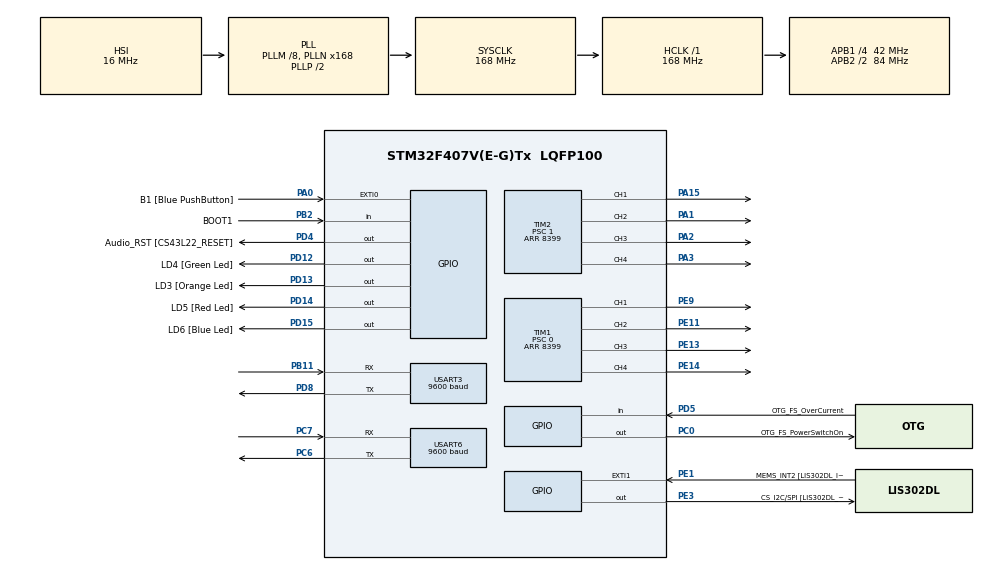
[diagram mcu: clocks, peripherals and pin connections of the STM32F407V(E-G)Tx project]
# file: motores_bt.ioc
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Mcu.Family=STM32F4
Mcu.Name=STM32F407V(E-G)Tx
Mcu.Package=LQFP100
NVIC.PriorityGroup=NVIC_PRIORITYGROUP_0
PA0-WKUP.GPIO_Label=B1 [Blue PushButton]
PA0-WKUP.Signal=GPXTI0
PA1.Signal=S_TIM2_CH2
PA10.GPIO_Label=OTG_FS_ID
PA10.GPIO_Mode=GPIO_MODE_AF_PP
PA10.GPIO_PuPd=GPIO_NOPULL
PA10.GPIO_Speed=GPIO_SPEED_FREQ_LOW
PA10.Signal=USB_OTG_FS_ID
PA11.GPIO_Label=OTG_FS_DM
PA11.GPIO_Mode=GPIO_MODE_AF_PP
PA11.GPIO_PuPd=GPIO_NOPULL
PA11.GPIO_Speed=GPIO_SPEED_FREQ_LOW
PA11.Signal=USB_OTG_FS_DM
PA12.GPIO_Label=OTG_FS_DP
PA12.GPIO_Mode=GPIO_MODE_AF_PP
PA12.GPIO_PuPd=GPIO_NOPULL
PA12.GPIO_Speed=GPIO_SPEED_FREQ_LOW
PA12.Signal=USB_OTG_FS_DP
PA13.GPIO_Label=SWDIO
PA13.Signal=SYS_JTMS-SWDIO
PA14.GPIO_Label=SWCLK
PA14.Signal=SYS_JTCK-SWCLK
PA15.Signal=S_TIM2_CH1_ETR
PA2.Signal=S_TIM2_CH3
PA3.Signal=S_TIM2_CH4
PA4.GPIO_Label=I2S3_WS [CS43L22_LRCK]
PA4.GPIO_Mode=GPIO_MODE_AF_PP
PA4.GPIO_PuPd=GPIO_NOPULL
PA4.GPIO_Speed=GPIO_SPEED_FREQ_LOW
PA4.Signal=I2S3_WS
PA5.GPIO_Label=SPI1_SCK [LIS302DL_SCL/SPC]
PA5.GPIO_Mode=GPIO_MODE_AF_PP
PA5.GPIO_PuPd=GPIO_NOPULL
PA5.GPIO_Speed=GPIO_SPEED_FREQ_LOW
PA5.Signal=SPI1_SCK
PA6.GPIO_Label=SPI1_MISO [LIS302DL_SDO]
PA6.GPIO_Mode=GPIO_MODE_AF_PP
PA6.GPIO_PuPd=GPIO_NOPULL
PA6.GPIO_Speed=GPIO_SPEED_FREQ_LOW
PA6.Signal=SPI1_MISO
PA7.GPIO_Label=SPI1_MOSI [LIS302DL_SDA/SDI/SDO]
PA7.GPIO_Mode=GPIO_MODE_AF_PP
PA7.GPIO_PuPd=GPIO_NOPULL
PA7.GPIO_Speed=GPIO_SPEED_FREQ_LOW
PA7.Signal=SPI1_MOSI
PA9.GPIO_Label=VBUS_FS
PA9.GPIO_Mode=GPIO_MODE_INPUT
PA9.GPIO_PuPd=GPIO_NOPULL
PA9.Signal=USB_OTG_FS_VBUS
PB10.GPIO_Label=CLK_IN [MP45DT02_CLK]
PB10.GPIO_Mode=GPIO_MODE_AF_PP
PB10.GPIO_PuPd=GPIO_NOPULL
PB10.GPIO_Speed=GPIO_SPEED_FREQ_LOW
PB10.Signal=I2S2_CK
PB11.Mode=Asynchronous
PB11.Signal=USART3_RX
PB2.GPIO_Label=BOOT1
PB2.GPIO_Mode=GPIO_MODE_INPUT
PB2.GPIO_PuPd=GPIO_NOPULL
PB2.Signal=GPIO_Input
PB3.GPIO_Label=SWO
PB3.Signal=SYS_JTDO-SWO
PB6.GPIO_Label=Audio_SCL [CS43L22_SCL]
PB6.GPIO_Mode=GPIO_MODE_AF_OD
PB6.GPIO_PuPd=GPIO_NOPULL
PB6.GPIO_Speed=GPIO_SPEED_FREQ_LOW
PB6.Signal=I2C1_SCL
PB9.GPIO_Label=Audio_SDA [CS43L22_SDA]
PB9.GPIO_Mode=GPIO_MODE_AF_OD
PB9.GPIO_PuPd=GPIO_NOPULL
PB9.GPIO_Speed=GPIO_SPEED_FREQ_LOW
PB9.Signal=I2C1_SDA
PC0.GPIO_Label=OTG_FS_PowerSwitchOn
PC0.GPIO_PuPd=GPIO_NOPULL
PC0.GPIO_Speed=GPIO_SPEED_FREQ_LOW
PC0.PinState=GPIO_PIN_SET
PC0.Signal=GPIO_Output
PC10.GPIO_Label=I2S3_SCK [CS43L22_SCLK]
PC10.GPIO_Mode=GPIO_MODE_AF_PP
PC10.GPIO_PuPd=GPIO_NOPULL
PC10.GPIO_Speed=GPIO_SPEED_FREQ_LOW
PC10.Signal=I2S3_CK
PC12.GPIO_Label=I2S3_SD [CS43L22_SDIN]
PC12.GPIO_Mode=GPIO_MODE_AF_PP
PC12.GPIO_PuPd=GPIO_NOPULL
PC12.GPIO_Speed=GPIO_SPEED_FREQ_LOW
PC12.Signal=I2S3_SD
PC14-OSC32_IN.GPIO_Label=PC14-OSC32_IN
PC14-OSC32_IN.Mode=LSE-External-Oscillator
PC14-OSC32_IN.Signal=RCC_OSC32_IN
PC15-OSC32_OUT.GPIO_Label=PC15-OSC32_OUT
PC15-OSC32_OUT.Mode=LSE-External-Oscillator
PC15-OSC32_OUT.Signal=RCC_OSC32_OUT
PC3.GPIO_Label=PDM_OUT [MP45DT02_DOUT]
PC3.GPIO_Mode=GPIO_MODE_AF_PP
PC3.GPIO_PuPd=GPIO_NOPULL
PC3.GPIO_Speed=GPIO_SPEED_FREQ_LOW
PC3.Signal=I2S2_SD
PC6.Mode=Asynchronous
PC6.Signal=USART6_TX
PC7.Mode=Asynchronous
PC7.Signal=USART6_RX
PD12.GPIO_Label=LD4 [Green Led]
PD12.GPIO_PuPd=GPIO_NOPULL
PD12.GPIO_Speed=GPIO_SPEED_FREQ_LOW
PD12.Signal=GPIO_Output
PD13.GPIO_Label=LD3 [Orange Led]
PD13.GPIO_PuPd=GPIO_NOPULL
PD13.GPIO_Speed=GPIO_SPEED_FREQ_LOW
PD13.Signal=GPIO_Output
PD14.GPIO_Label=LD5 [Red Led]
PD14.GPIO_PuPd=GPIO_NOPULL
PD14.GPIO_Speed=GPIO_SPEED_FREQ_LOW
PD14.Signal=GPIO_Output
PD15.GPIO_Label=LD6 [Blue Led]
PD15.GPIO_PuPd=GPIO_NOPULL
PD15.GPIO_Speed=GPIO_SPEED_FREQ_LOW
PD15.Signal=GPIO_Output
PD4.GPIO_Label=Audio_RST [CS43L22_RESET]
PD4.GPIO_PuPd=GPIO_NOPULL
PD4.GPIO_Speed=GPIO_SPEED_FREQ_LOW
PD4.Signal=GPIO_Output
PD5.GPIO_Label=OTG_FS_OverCurrent
PD5.GPIO_Mode=GPIO_MODE_INPUT
PD5.GPIO_PuPd=GPIO_NOPULL
PD5.Signal=GPIO_Input
PD8.Mode=Asynchronous
PD8.Signal=USART3_TX
PE1.GPIO_Label=MEMS_INT2 [LIS302DL_INT2]
PE1.GPIO_ModeDefaultEXTI=GPIO_MODE_EVT_RISING
PE1.GPIO_PuPd=GPIO_NOPULL
PE1.Signal=GPXTI1
PE11.Signal=S_TIM1_CH2
PE13.Signal=S_TIM1_CH3
PE14.Signal=S_TIM1_CH4
PE3.GPIO_Label=CS_I2C/SPI [LIS302DL_CS_I2C/SPI]
PE3.GPIO_PuPd=GPIO_NOPULL
PE3.GPIO_Speed=GPIO_SPEED_FREQ_LOW
PE3.Signal=GPIO_Output
PE9.Signal=S_TIM1_CH1
PH0-OSC_IN.GPIO_Label=PH0-OSC_IN
PH0-OSC_IN.Mode=HSE-External-Oscillator
PH0-OSC_IN.Signal=RCC_OSC_IN
PH1-OSC_OUT.GPIO_Label=PH1-OSC_OUT
PH1-OSC_OUT.Mode=HSE-External-Oscillator
PH1-OSC_OUT.Signal=RCC_OSC_OUT
ProjectManager.HeapSize=0x200
ProjectManager.StackSize=0x400
ProjectManager.TargetToolchain=STM32CubeIDE
RCC.48MHZClocksFreq_Value=48000000
RCC.AHBFreq_Value=168000000
RCC.APB1CLKDivider=RCC_HCLK_DIV4
RCC.APB1Freq_Value=42000000
RCC.APB1TimFreq_Value=84000000
RCC.APB2CLKDivider=RCC_HCLK_DIV2
RCC.APB2Freq_Value=84000000
RCC.APB2TimFreq_Value=168000000
RCC.CortexFreq_Value=168000000
RCC.HCLKFreq_Value=168000000
RCC.HSE_VALUE=8000000
RCC.HSI_VALUE=16000000
RCC.PLLM=8
RCC.PLLN=168
RCC.PLLQ=7
RCC.SYSCLKFreq_VALUE=168000000
RCC.SYSCLKSource=RCC_SYSCLKSOURCE_PLLCLK
RCC.VCOOutputFreq_Value=336000000
SH.S_TIM1_CH1.0=TIM1_CH1,PWM Generation1 CH1
SH.S_TIM1_CH2.0=TIM1_CH2,PWM Generation2 CH2
SH.S_TIM1_CH3.0=TIM1_CH3,PWM Generation3 CH3
SH.S_TIM1_CH4.0=TIM1_CH4,PWM Generation4 CH4
SH.S_TIM2_CH1_ETR.0=TIM2_CH1,PWM Generation1 CH1
SH.S_TIM2_CH2.0=TIM2_CH2,PWM Generation2 CH2
SH.S_TIM2_CH3.0=TIM2_CH3,PWM Generation3 CH3
SH.S_TIM2_CH4.0=TIM2_CH4,PWM Generation4 CH4
TIM1.AutoReloadPreload=TIM_AUTORELOAD_PRELOAD_ENABLE
TIM1.Channel-PWM\ Generation1\ CH1=TIM_CHANNEL_1
TIM1.Channel-PWM\ Generation2\ CH2=TIM_CHANNEL_2
TIM1.Channel-PWM\ Generation3\ CH3=TIM_CHANNEL_3
TIM1.Channel-PWM\ Generation4\ CH4=TIM_CHANNEL_4
TIM1.Period=8399
TIM1.Prescaler=0
TIM2.AutoReloadPreload=TIM_AUTORELOAD_PRELOAD_ENABLE
TIM2.Channel-PWM\ Generation1\ CH1=TIM_CHANNEL_1
TIM2.Channel-PWM\ Generation2\ CH2=TIM_CHANNEL_2
TIM2.Channel-PWM\ Generation3\ CH3=TIM_CHANNEL_3
TIM2.Channel-PWM\ Generation4\ CH4=TIM_CHANNEL_4
TIM2.Period=8399
TIM2.Prescaler=1
USART3.BaudRate=9600
USART3.VirtualMode=VM_ASYNC
USART6.BaudRate=9600
USART6.VirtualMode=VM_ASYNC
VP_TIM1_VS_ClockSourceINT.Mode=Internal
VP_TIM2_VS_ClockSourceINT.Mode=Internal
board=STM32F407G-DISC1

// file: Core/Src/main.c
/* USER CODE BEGIN Header */
/**
  ******************************************************************************
  * @file           : main.c
  * @brief          : Main program body
  ******************************************************************************
  * @attention
  *
  * Copyright (c) 2024 STMicroelectronics.
  * All rights reserved.
  *
  * This software is licensed under terms that can be found in the LICENSE file
  * in the root directory of this software component.
  * If no LICENSE file comes with this software, it is provided AS-IS.
  *
  ******************************************************************************
  */
/* USER CODE END Header */
#include "main.h"

/* USER CODE BEGIN Includes */
#include <string.h>
void movimiento(char str, int speed);
/* USER CODE END Includes */

TIM_HandleTypeDef htim1;
TIM_HandleTypeDef htim2;

UART_HandleTypeDef huart3;
UART_HandleTypeDef huart6;

void SystemClock_Config(void);
static void MX_GPIO_Init(void);
static void MX_TIM1_Init(void);
static void MX_TIM2_Init(void);
static void MX_USART6_UART_Init(void);
static void MX_USART3_UART_Init(void);

int main(void)
{

  /* MCU Configuration--------------------------------------------------------*/

  /* Reset of all peripherals, Initializes the Flash interface and the Systick. */
  HAL_Init();

  /* Configure the system clock */
  SystemClock_Config();

  /* Initialize all configured peripherals */
  MX_GPIO_Init();
  MX_TIM1_Init();
  MX_TIM2_Init();
  MX_USART6_UART_Init();
  MX_USART3_UART_Init();
  /* USER CODE BEGIN 2 */
  HAL_TIM_PWM_Start_IT(&htim1, TIM_CHANNEL_1);
  __HAL_TIM_SetCompare(&htim1, TIM_CHANNEL_1, 0);

  HAL_TIM_PWM_Start_IT(&htim1, TIM_CHANNEL_2);
  __HAL_TIM_SetCompare(&htim1, TIM_CHANNEL_2, 0);

  HAL_TIM_PWM_Start_IT(&htim1, TIM_CHANNEL_3);
  __HAL_TIM_SetCompare(&htim1, TIM_CHANNEL_3, 0);

  HAL_TIM_PWM_Start_IT(&htim1, TIM_CHANNEL_4);
  __HAL_TIM_SetCompare(&htim1, TIM_CHANNEL_4, 0);

  HAL_TIM_PWM_Start_IT(&htim2, TIM_CHANNEL_1);
  __HAL_TIM_SetCompare(&htim2, TIM_CHANNEL_1, 0);

  HAL_TIM_PWM_Start_IT(&htim2, TIM_CHANNEL_2);
  __HAL_TIM_SetCompare(&htim2, TIM_CHANNEL_2, 0);

  HAL_TIM_PWM_Start_IT(&htim2, TIM_CHANNEL_3);
  __HAL_TIM_SetCompare(&htim2, TIM_CHANNEL_3, 0);

  HAL_TIM_PWM_Start_IT(&htim2, TIM_CHANNEL_4);
  __HAL_TIM_SetCompare(&htim2, TIM_CHANNEL_4, 0);
  movimiento('b', 0);
  /* USER CODE END 2 */

  /* Infinite loop */
  /* USER CODE BEGIN WHILE */
  while (1)
  {
	  char rxData;
	  if (HAL_UART_Receive(&huart6, &rxData, 1, HAL_MAX_DELAY) == HAL_OK)
	             {
		  	  	  	HAL_UART_Transmit(&huart3, &rxData, 1, 50);
	                movimiento(rxData, 2520);
	             }
    /* USER CODE END WHILE */

  }
}

void SystemClock_Config(void)
{
  RCC_OscInitTypeDef RCC_OscInitStruct = {0};
  RCC_ClkInitTypeDef RCC_ClkInitStruct = {0};

  /** Configure the main internal regulator output voltage
  */
  __HAL_RCC_PWR_CLK_ENABLE();
  __HAL_PWR_VOLTAGESCALING_CONFIG(PWR_REGULATOR_VOLTAGE_SCALE1);

  /** Initializes the RCC Oscillators according to the specified parameters
  * in the RCC_OscInitTypeDef structure.
  */
  RCC_OscInitStruct.OscillatorType = RCC_OSCILLATORTYPE_HSI;
  RCC_OscInitStruct.HSIState = RCC_HSI_ON;
  RCC_OscInitStruct.HSICalibrationValue = RCC_HSICALIBRATION_DEFAULT;
  RCC_OscInitStruct.PLL.PLLState = RCC_PLL_ON;
  RCC_OscInitStruct.PLL.PLLSource = RCC_PLLSOURCE_HSI;
  RCC_OscInitStruct.PLL.PLLM = 8;
  RCC_OscInitStruct.PLL.PLLN = 168;
  RCC_OscInitStruct.PLL.PLLP = RCC_PLLP_DIV2;
  RCC_OscInitStruct.PLL.PLLQ = 7;
  if (HAL_RCC_OscConfig(&RCC_OscInitStruct) != HAL_OK)
  {
    Error_Handler();
  }

  /** Initializes the CPU, AHB and APB buses clocks
  */
  RCC_ClkInitStruct.ClockType = RCC_CLOCKTYPE_HCLK|RCC_CLOCKTYPE_SYSCLK
                              |RCC_CLOCKTYPE_PCLK1|RCC_CLOCKTYPE_PCLK2;
  RCC_ClkInitStruct.SYSCLKSource = RCC_SYSCLKSOURCE_PLLCLK;
  RCC_ClkInitStruct.AHBCLKDivider = RCC_SYSCLK_DIV1;
  RCC_ClkInitStruct.APB1CLKDivider = RCC_HCLK_DIV4;
  RCC_ClkInitStruct.APB2CLKDivider = RCC_HCLK_DIV2;

  if (HAL_RCC_ClockConfig(&RCC_ClkInitStruct, FLASH_LATENCY_5) != HAL_OK)
  {
    Error_Handler();
  }
}

static void MX_TIM1_Init(void)
{

  TIM_ClockConfigTypeDef sClockSourceConfig = {0};
  TIM_MasterConfigTypeDef sMasterConfig = {0};
  TIM_OC_InitTypeDef sConfigOC = {0};
  TIM_BreakDeadTimeConfigTypeDef sBreakDeadTimeConfig = {0};

  htim1.Instance = TIM1;
  htim1.Init.Prescaler = 0;
  htim1.Init.CounterMode = TIM_COUNTERMODE_UP;
  htim1.Init.Period = 8399;
  htim1.Init.ClockDivision = TIM_CLOCKDIVISION_DIV1;
  htim1.Init.RepetitionCounter = 0;
  htim1.Init.AutoReloadPreload = TIM_AUTORELOAD_PRELOAD_ENABLE;
  if (HAL_TIM_Base_Init(&htim1) != HAL_OK)
  {
    Error_Handler();
  }
  sClockSourceConfig.ClockSource = TIM_CLOCKSOURCE_INTERNAL;
  if (HAL_TIM_ConfigClockSource(&htim1, &sClockSourceConfig) != HAL_OK)
  {
    Error_Handler();
  }
  if (HAL_TIM_PWM_Init(&htim1) != HAL_OK)
  {
    Error_Handler();
  }
  sMasterConfig.MasterOutputTrigger = TIM_TRGO_RESET;
  sMasterConfig.MasterSlaveMode = TIM_MASTERSLAVEMODE_DISABLE;
  if (HAL_TIMEx_MasterConfigSynchronization(&htim1, &sMasterConfig) != HAL_OK)
  {
    Error_Handler();
  }
  sConfigOC.OCMode = TIM_OCMODE_PWM1;
  sConfigOC.Pulse = 0;
  sConfigOC.OCPolarity = TIM_OCPOLARITY_HIGH;
  sConfigOC.OCNPolarity = TIM_OCNPOLARITY_HIGH;
  sConfigOC.OCFastMode = TIM_OCFAST_DISABLE;
  sConfigOC.OCIdleState = TIM_OCIDLESTATE_RESET;
  sConfigOC.OCNIdleState = TIM_OCNIDLESTATE_RESET;
  if (HAL_TIM_PWM_ConfigChannel(&htim1, &sConfigOC, TIM_CHANNEL_1) != HAL_OK)
  {
    Error_Handler();
  }
  if (HAL_TIM_PWM_ConfigChannel(&htim1, &sConfigOC, TIM_CHANNEL_2) != HAL_OK)
  {
    Error_Handler();
  }
  if (HAL_TIM_PWM_ConfigChannel(&htim1, &sConfigOC, TIM_CHANNEL_3) != HAL_OK)
  {
    Error_Handler();
  }
  if (HAL_TIM_PWM_ConfigChannel(&htim1, &sConfigOC, TIM_CHANNEL_4) != HAL_OK)
  {
    Error_Handler();
  }
  sBreakDeadTimeConfig.OffStateRunMode = TIM_OSSR_DISABLE;
  sBreakDeadTimeConfig.OffStateIDLEMode = TIM_OSSI_DISABLE;
  sBreakDeadTimeConfig.LockLevel = TIM_LOCKLEVEL_OFF;
  sBreakDeadTimeConfig.DeadTime = 0;
  sBreakDeadTimeConfig.BreakState = TIM_BREAK_DISABLE;
  sBreakDeadTimeConfig.BreakPolarity = TIM_BREAKPOLARITY_HIGH;
  sBreakDeadTimeConfig.AutomaticOutput = TIM_AUTOMATICOUTPUT_DISABLE;
  if (HAL_TIMEx_ConfigBreakDeadTime(&htim1, &sBreakDeadTimeConfig) != HAL_OK)
  {
    Error_Handler();
  }
  HAL_TIM_MspPostInit(&htim1);

}

static void MX_TIM2_Init(void)
{

  TIM_ClockConfigTypeDef sClockSourceConfig = {0};
  TIM_MasterConfigTypeDef sMasterConfig = {0};
  TIM_OC_InitTypeDef sConfigOC = {0};

  htim2.Instance = TIM2;
  htim2.Init.Prescaler = 1;
  htim2.Init.CounterMode = TIM_COUNTERMODE_UP;
  htim2.Init.Period = 8399;
  htim2.Init.ClockDivision = TIM_CLOCKDIVISION_DIV1;
  htim2.Init.AutoReloadPreload = TIM_AUTORELOAD_PRELOAD_ENABLE;
  if (HAL_TIM_Base_Init(&htim2) != HAL_OK)
  {
    Error_Handler();
  }
  sClockSourceConfig.ClockSource = TIM_CLOCKSOURCE_INTERNAL;
  if (HAL_TIM_ConfigClockSource(&htim2, &sClockSourceConfig) != HAL_OK)
  {
    Error_Handler();
  }
  if (HAL_TIM_PWM_Init(&htim2) != HAL_OK)
  {
    Error_Handler();
  }
  sMasterConfig.MasterOutputTrigger = TIM_TRGO_RESET;
  sMasterConfig.MasterSlaveMode = TIM_MASTERSLAVEMODE_DISABLE;
  if (HAL_TIMEx_MasterConfigSynchronization(&htim2, &sMasterConfig) != HAL_OK)
  {
    Error_Handler();
  }
  sConfigOC.OCMode = TIM_OCMODE_PWM1;
  sConfigOC.Pulse = 0;
  sConfigOC.OCPolarity = TIM_OCPOLARITY_HIGH;
  sConfigOC.OCFastMode = TIM_OCFAST_DISABLE;
  if (HAL_TIM_PWM_ConfigChannel(&htim2, &sConfigOC, TIM_CHANNEL_1) != HAL_OK)
  {
    Error_Handler();
  }
  if (HAL_TIM_PWM_ConfigChannel(&htim2, &sConfigOC, TIM_CHANNEL_2) != HAL_OK)
  {
    Error_Handler();
  }
  if (HAL_TIM_PWM_ConfigChannel(&htim2, &sConfigOC, TIM_CHANNEL_3) != HAL_OK)
  {
    Error_Handler();
  }
  if (HAL_TIM_PWM_ConfigChannel(&htim2, &sConfigOC, TIM_CHANNEL_4) != HAL_OK)
  {
    Error_Handler();
  }
  HAL_TIM_MspPostInit(&htim2);

}

static void MX_USART3_UART_Init(void)
{

  huart3.Instance = USART3;
  huart3.Init.BaudRate = 9600;
  huart3.Init.WordLength = UART_WORDLENGTH_8B;
  huart3.Init.StopBits = UART_STOPBITS_1;
  huart3.Init.Parity = UART_PARITY_NONE;
  huart3.Init.Mode = UART_MODE_TX_RX;
  huart3.Init.HwFlowCtl = UART_HWCONTROL_NONE;
  huart3.Init.OverSampling = UART_OVERSAMPLING_16;
  if (HAL_UART_Init(&huart3) != HAL_OK)
  {
    Error_Handler();
  }

}

static void MX_USART6_UART_Init(void)
{

  huart6.Instance = USART6;
  huart6.Init.BaudRate = 9600;
  huart6.Init.WordLength = UART_WORDLENGTH_8B;
  huart6.Init.StopBits = UART_STOPBITS_1;
  huart6.Init.Parity = UART_PARITY_NONE;
  huart6.Init.Mode = UART_MODE_TX_RX;
  huart6.Init.HwFlowCtl = UART_HWCONTROL_NONE;
  huart6.Init.OverSampling = UART_OVERSAMPLING_16;
  if (HAL_UART_Init(&huart6) != HAL_OK)
  {
    Error_Handler();
  }

}

static void MX_GPIO_Init(void)
{
  GPIO_InitTypeDef GPIO_InitStruct = {0};

  /* GPIO Ports Clock Enable */
  __HAL_RCC_GPIOE_CLK_ENABLE();
  __HAL_RCC_GPIOC_CLK_ENABLE();
  __HAL_RCC_GPIOH_CLK_ENABLE();
  __HAL_RCC_GPIOA_CLK_ENABLE();
  __HAL_RCC_GPIOB_CLK_ENABLE();
  __HAL_RCC_GPIOD_CLK_ENABLE();

  /*Configure GPIO pin Output Level */
  HAL_GPIO_WritePin(CS_I2C_SPI_GPIO_Port, CS_I2C_SPI_Pin, GPIO_PIN_RESET);

  /*Configure GPIO pin Output Level */
  HAL_GPIO_WritePin(OTG_FS_PowerSwitchOn_GPIO_Port, OTG_FS_PowerSwitchOn_Pin, GPIO_PIN_SET);

  /*Configure GPIO pin Output Level */
  HAL_GPIO_WritePin(GPIOD, LD4_Pin|LD3_Pin|LD5_Pin|LD6_Pin
                          |Audio_RST_Pin, GPIO_PIN_RESET);

  /*Configure GPIO pin : CS_I2C_SPI_Pin */
  GPIO_InitStruct.Pin = CS_I2C_SPI_Pin;
  GPIO_InitStruct.Mode = GPIO_MODE_OUTPUT_PP;
  GPIO_InitStruct.Pull = GPIO_NOPULL;
  GPIO_InitStruct.Speed = GPIO_SPEED_FREQ_LOW;
  HAL_GPIO_Init(CS_I2C_SPI_GPIO_Port, &GPIO_InitStruct);

  /*Configure GPIO pin : OTG_FS_PowerSwitchOn_Pin */
  GPIO_InitStruct.Pin = OTG_FS_PowerSwitchOn_Pin;
  GPIO_InitStruct.Mode = GPIO_MODE_OUTPUT_PP;
  GPIO_InitStruct.Pull = GPIO_NOPULL;
  GPIO_InitStruct.Speed = GPIO_SPEED_FREQ_LOW;
  HAL_GPIO_Init(OTG_FS_PowerSwitchOn_GPIO_Port, &GPIO_InitStruct);

  /*Configure GPIO pin : PDM_OUT_Pin */
  GPIO_InitStruct.Pin = PDM_OUT_Pin;
  GPIO_InitStruct.Mode = GPIO_MODE_AF_PP;
  GPIO_InitStruct.Pull = GPIO_NOPULL;
  GPIO_InitStruct.Speed = GPIO_SPEED_FREQ_LOW;
  GPIO_InitStruct.Alternate = GPIO_AF5_SPI2;
  HAL_GPIO_Init(PDM_OUT_GPIO_Port, &GPIO_InitStruct);

  /*Configure GPIO pin : B1_Pin */
  GPIO_InitStruct.Pin = B1_Pin;
  GPIO_InitStruct.Mode = GPIO_MODE_IT_RISING;
  GPIO_InitStruct.Pull = GPIO_NOPULL;
  HAL_GPIO_Init(B1_GPIO_Port, &GPIO_InitStruct);

  /*Configure GPIO pin : I2S3_WS_Pin */
  GPIO_InitStruct.Pin = I2S3_WS_Pin;
  GPIO_InitStruct.Mode = GPIO_MODE_AF_PP;
  GPIO_InitStruct.Pull = GPIO_NOPULL;
  GPIO_InitStruct.Speed = GPIO_SPEED_FREQ_LOW;
  GPIO_InitStruct.Alternate = GPIO_AF6_SPI3;
  HAL_GPIO_Init(I2S3_WS_GPIO_Port, &GPIO_InitStruct);

  /*Configure GPIO pins : SPI1_SCK_Pin SPI1_MISO_Pin SPI1_MOSI_Pin */
  GPIO_InitStruct.Pin = SPI1_SCK_Pin|SPI1_MISO_Pin|SPI1_MOSI_Pin;
  GPIO_InitStruct.Mode = GPIO_MODE_AF_PP;
  GPIO_InitStruct.Pull = GPIO_NOPULL;
  GPIO_InitStruct.Speed = GPIO_SPEED_FREQ_LOW;
  GPIO_InitStruct.Alternate = GPIO_AF5_SPI1;
  HAL_GPIO_Init(GPIOA, &GPIO_InitStruct);

  /*Configure GPIO pin : BOOT1_Pin */
  GPIO_InitStruct.Pin = BOOT1_Pin;
  GPIO_InitStruct.Mode = GPIO_MODE_INPUT;
  GPIO_InitStruct.Pull = GPIO_NOPULL;
  HAL_GPIO_Init(BOOT1_GPIO_Port, &GPIO_InitStruct);

  /*Configure GPIO pin : CLK_IN_Pin */
  GPIO_InitStruct.Pin = CLK_IN_Pin;
  GPIO_InitStruct.Mode = GPIO_MODE_AF_PP;
  GPIO_InitStruct.Pull = GPIO_NOPULL;
  GPIO_InitStruct.Speed = GPIO_SPEED_FREQ_LOW;
  GPIO_InitStruct.Alternate = GPIO_AF5_SPI2;
  HAL_GPIO_Init(CLK_IN_GPIO_Port, &GPIO_InitStruct);

  /*Configure GPIO pins : LD4_Pin LD3_Pin LD5_Pin LD6_Pin
                           Audio_RST_Pin */
  GPIO_InitStruct.Pin = LD4_Pin|LD3_Pin|LD5_Pin|LD6_Pin
                          |Audio_RST_Pin;
  GPIO_InitStruct.Mode = GPIO_MODE_OUTPUT_PP;
  GPIO_InitStruct.Pull = GPIO_NOPULL;
  GPIO_InitStruct.Speed = GPIO_SPEED_FREQ_LOW;
  HAL_GPIO_Init(GPIOD, &GPIO_InitStruct);

  /*Configure GPIO pin : VBUS_FS_Pin */
  GPIO_InitStruct.Pin = VBUS_FS_Pin;
  GPIO_InitStruct.Mode = GPIO_MODE_INPUT;
  GPIO_InitStruct.Pull = GPIO_NOPULL;
  HAL_GPIO_Init(VBUS_FS_GPIO_Port, &GPIO_InitStruct);

  /*Configure GPIO pins : OTG_FS_ID_Pin OTG_FS_DM_Pin OTG_FS_DP_Pin */
  GPIO_InitStruct.Pin = OTG_FS_ID_Pin|OTG_FS_DM_Pin|OTG_FS_DP_Pin;
  GPIO_InitStruct.Mode = GPIO_MODE_AF_PP;
  GPIO_InitStruct.Pull = GPIO_NOPULL;
  GPIO_InitStruct.Speed = GPIO_SPEED_FREQ_LOW;
  GPIO_InitStruct.Alternate = GPIO_AF10_OTG_FS;
  HAL_GPIO_Init(GPIOA, &GPIO_InitStruct);

  /*Configure GPIO pins : I2S3_SCK_Pin I2S3_SD_Pin */
  GPIO_InitStruct.Pin = I2S3_SCK_Pin|I2S3_SD_Pin;
  GPIO_InitStruct.Mode = GPIO_MODE_AF_PP;
  GPIO_InitStruct.Pull = GPIO_NOPULL;
  GPIO_InitStruct.Speed = GPIO_SPEED_FREQ_LOW;
  GPIO_InitStruct.Alternate = GPIO_AF6_SPI3;
  HAL_GPIO_Init(GPIOC, &GPIO_InitStruct);

  /*Configure GPIO pin : OTG_FS_OverCurrent_Pin */
  GPIO_InitStruct.Pin = OTG_FS_OverCurrent_Pin;
  GPIO_InitStruct.Mode = GPIO_MODE_INPUT;
  GPIO_InitStruct.Pull = GPIO_NOPULL;
  HAL_GPIO_Init(OTG_FS_OverCurrent_GPIO_Port, &GPIO_InitStruct);

  /*Configure GPIO pins : Audio_SCL_Pin Audio_SDA_Pin */
  GPIO_InitStruct.Pin = Audio_SCL_Pin|Audio_SDA_Pin;
  GPIO_InitStruct.Mode = GPIO_MODE_AF_OD;
  GPIO_InitStruct.Pull = GPIO_NOPULL;
  GPIO_InitStruct.Speed = GPIO_SPEED_FREQ_LOW;
  GPIO_InitStruct.Alternate = GPIO_AF4_I2C1;
  HAL_GPIO_Init(GPIOB, &GPIO_InitStruct);

  /*Configure GPIO pin : MEMS_INT2_Pin */
  GPIO_InitStruct.Pin = MEMS_INT2_Pin;
  GPIO_InitStruct.Mode = GPIO_MODE_EVT_RISING;
  GPIO_InitStruct.Pull = GPIO_NOPULL;
  HAL_GPIO_Init(MEMS_INT2_GPIO_Port, &GPIO_InitStruct);

}

/* USER CODE BEGIN 4 */
void movimiento(char str, int speed) {
	// Motor 1
	 __HAL_TIM_SetCompare(&htim1, TIM_CHANNEL_1, 0);
	 __HAL_TIM_SetCompare(&htim1, TIM_CHANNEL_2, 0);

	 // Motor 2
	 __HAL_TIM_SetCompare(&htim1, TIM_CHANNEL_3, 0);
	 __HAL_TIM_SetCompare(&htim1, TIM_CHANNEL_4, 0);

	 // Motor 3
	 __HAL_TIM_SetCompare(&htim2, TIM_CHANNEL_1, 0);
	 __HAL_TIM_SetCompare(&htim2, TIM_CHANNEL_2, 0);

	 // Motor 4
	 __HAL_TIM_SetCompare(&htim2, TIM_CHANNEL_3, 0);
	 __HAL_TIM_SetCompare(&htim2, TIM_CHANNEL_4, 0);

	 HAL_Delay(1000);

		// Stop
		if (str  == 'e' )
		{
			return;
		}

	// Adelante
	if (str == 'b' )
	{
		// Motor 1
		 __HAL_TIM_SetCompare(&htim1, TIM_CHANNEL_1, speed);
		 __HAL_TIM_SetCompare(&htim1, TIM_CHANNEL_2, 0);

		 // Motor 2
		 __HAL_TIM_SetCompare(&htim1, TIM_CHANNEL_3, speed);
		 __HAL_TIM_SetCompare(&htim1, TIM_CHANNEL_4, 0);

		 // Motor 3
		 __HAL_TIM_SetCompare(&htim2, TIM_CHANNEL_1, speed);
		 __HAL_TIM_SetCompare(&htim2, TIM_CHANNEL_2, 0);

		 // Motor 4
		 __HAL_TIM_SetCompare(&htim2, TIM_CHANNEL_3, speed);
		 __HAL_TIM_SetCompare(&htim2, TIM_CHANNEL_4, 0);
	}

	// Atras
	if (str == 'h' )
	{
		// Motor 1
		 __HAL_TIM_SetCompare(&htim1, TIM_CHANNEL_1, 0);
		 __HAL_TIM_SetCompare(&htim1, TIM_CHANNEL_2, speed);

		 // Motor 2
		 __HAL_TIM_SetCompare(&htim1, TIM_CHANNEL_3, 0);
		 __HAL_TIM_SetCompare(&htim1, TIM_CHANNEL_4, speed);

		 // Motor 3
		 __HAL_TIM_SetCompare(&htim2, TIM_CHANNEL_1, 0);
		 __HAL_TIM_SetCompare(&htim2, TIM_CHANNEL_2, speed);

		 // Motor 4
		 __HAL_TIM_SetCompare(&htim2, TIM_CHANNEL_3, 0);
		 __HAL_TIM_SetCompare(&htim2, TIM_CHANNEL_4, speed);

	}

	// Rotación en sentido horario
	if (str == 'j' )
	{
		// Motor 1
		 __HAL_TIM_SetCompare(&htim1, TIM_CHANNEL_1, speed);
		 __HAL_TIM_SetCompare(&htim1, TIM_CHANNEL_2, 0);

		 // Motor 2
		 __HAL_TIM_SetCompare(&htim1, TIM_CHANNEL_3, 0);
		 __HAL_TIM_SetCompare(&htim1, TIM_CHANNEL_4, speed);

		 // Motor 3
		 __HAL_TIM_SetCompare(&htim2, TIM_CHANNEL_1, speed);
		 __HAL_TIM_SetCompare(&htim2, TIM_CHANNEL_2, 0);

		 // Motor 4
		 __HAL_TIM_SetCompare(&htim2, TIM_CHANNEL_3, 0);
		 __HAL_TIM_SetCompare(&htim2, TIM_CHANNEL_4, speed);
	}

	// Rotación en sentido antihorario
	if (str == 'k' )
	{
		// Motor 1
		 __HAL_TIM_SetCompare(&htim1, TIM_CHANNEL_1, 0);
		 __HAL_TIM_SetCompare(&htim1, TIM_CHANNEL_2, speed);

		 // Motor 2
		 __HAL_TIM_SetCompare(&htim1, TIM_CHANNEL_3, speed);
		 __HAL_TIM_SetCompare(&htim1, TIM_CHANNEL_4, 0);

		 // Motor 3
		 __HAL_TIM_SetCompare(&htim2, TIM_CHANNEL_1, 0);
		 __HAL_TIM_SetCompare(&htim2, TIM_CHANNEL_2, speed);

		 // Motor 4
		 __HAL_TIM_SetCompare(&htim2, TIM_CHANNEL_3, speed);
		 __HAL_TIM_SetCompare(&htim2, TIM_CHANNEL_4, 0);
	}

	// Adelante 45° derecha
	if (str == 'c' )
	{
		// Motor 1
		__HAL_TIM_SetCompare(&htim1, TIM_CHANNEL_1, speed);
		__HAL_TIM_SetCompare(&htim1, TIM_CHANNEL_2, 0);

		// Motor 2
		__HAL_TIM_SetCompare(&htim1, TIM_CHANNEL_3, 0);
		__HAL_TIM_SetCompare(&htim1, TIM_CHANNEL_4, 0);

		 // Motor 3
		__HAL_TIM_SetCompare(&htim2, TIM_CHANNEL_1, 0);
		__HAL_TIM_SetCompare(&htim2, TIM_CHANNEL_2, 0);

		// Motor 4
		__HAL_TIM_SetCompare(&htim2, TIM_CHANNEL_3, speed);
		__HAL_TIM_SetCompare(&htim2, TIM_CHANNEL_4, 0);
	}

	// Adelante 45° izquierda
	if (str == 'a' )
	{
		// Motor 1
		__HAL_TIM_SetCompare(&htim1, TIM_CHANNEL_1, 0);
		__HAL_TIM_SetCompare(&htim1, TIM_CHANNEL_2, 0);

		// Motor 2
		__HAL_TIM_SetCompare(&htim1, TIM_CHANNEL_3, speed);
		__HAL_TIM_SetCompare(&htim1, TIM_CHANNEL_4, 0);

		 // Motor 3
		__HAL_TIM_SetCompare(&htim2, TIM_CHANNEL_1, speed);
		__HAL_TIM_SetCompare(&htim2, TIM_CHANNEL_2, 0);

		// Motor 4
		__HAL_TIM_SetCompare(&htim2, TIM_CHANNEL_3, 0);
		__HAL_TIM_SetCompare(&htim2, TIM_CHANNEL_4, 0);
	}

	// Atrás 45° izquierda
	if (str == 'g' )
	{
		// Motor 1
		__HAL_TIM_SetCompare(&htim1, TIM_CHANNEL_1, 0);
		__HAL_TIM_SetCompare(&htim1, TIM_CHANNEL_2, speed);

		// Motor 2
		__HAL_TIM_SetCompare(&htim1, TIM_CHANNEL_3, 0);
		__HAL_TIM_SetCompare(&htim1, TIM_CHANNEL_4, 0);

		 // Motor 3
		__HAL_TIM_SetCompare(&htim2, TIM_CHANNEL_1, 0);
		__HAL_TIM_SetCompare(&htim2, TIM_CHANNEL_2, 0);

		// Motor 4
		__HAL_TIM_SetCompare(&htim2, TIM_CHANNEL_3, 0);
		__HAL_TIM_SetCompare(&htim2, TIM_CHANNEL_4, speed);
	}
	// Atrás 45° derecha
	if (str == 'i' )
	{
		// Motor 1
		__HAL_TIM_SetCompare(&htim1, TIM_CHANNEL_1, 0);
		__HAL_TIM_SetCompare(&htim1, TIM_CHANNEL_2, 0);

		// Motor 2
		__HAL_TIM_SetCompare(&htim1, TIM_CHANNEL_3, 0);
		__HAL_TIM_SetCompare(&htim1, TIM_CHANNEL_4, speed);

		 // Motor 3
		__HAL_TIM_SetCompare(&htim2, TIM_CHANNEL_1, 0);
		__HAL_TIM_SetCompare(&htim2, TIM_CHANNEL_2, speed);

		// Motor 4
		__HAL_TIM_SetCompare(&htim2, TIM_CHANNEL_3, 0);
		__HAL_TIM_SetCompare(&htim2, TIM_CHANNEL_4, 0);
	}

	// Derecha
	if (str == 'f' )
	{
		// Motor 1
		__HAL_TIM_SetCompare(&htim1, TIM_CHANNEL_1, speed);
		__HAL_TIM_SetCompare(&htim1, TIM_CHANNEL_2, 0);

		// Motor 2
		__HAL_TIM_SetCompare(&htim1, TIM_CHANNEL_3, 0);
		__HAL_TIM_SetCompare(&htim1, TIM_CHANNEL_4, speed);

		 // Motor 3
		__HAL_TIM_SetCompare(&htim2, TIM_CHANNEL_1, 0);
		__HAL_TIM_SetCompare(&htim2, TIM_CHANNEL_2, speed);

		// Motor 4
		__HAL_TIM_SetCompare(&htim2, TIM_CHANNEL_3, speed);
		__HAL_TIM_SetCompare(&htim2, TIM_CHANNEL_4, 0);
	}
	// Izquierda
	if (str == 'd' )
	{
		// Motor 1
		__HAL_TIM_SetCompare(&htim1, TIM_CHANNEL_1, 0);
		__HAL_TIM_SetCompare(&htim1, TIM_CHANNEL_2, speed);

		// Motor 2
		__HAL_TIM_SetCompare(&htim1, TIM_CHANNEL_3, speed);
		__HAL_TIM_SetCompare(&htim1, TIM_CHANNEL_4, 0);

		 // Motor 3
		__HAL_TIM_SetCompare(&htim2, TIM_CHANNEL_1, speed);
		__HAL_TIM_SetCompare(&htim2, TIM_CHANNEL_2, 0);

		// Motor 4
		__HAL_TIM_SetCompare(&htim2, TIM_CHANNEL_3, 0);
		__HAL_TIM_SetCompare(&htim2, TIM_CHANNEL_4, speed);
	}
}
/* USER CODE END 4 */

void Error_Handler(void)
{
  __disable_irq();
  while (1)
  {
  }
}
